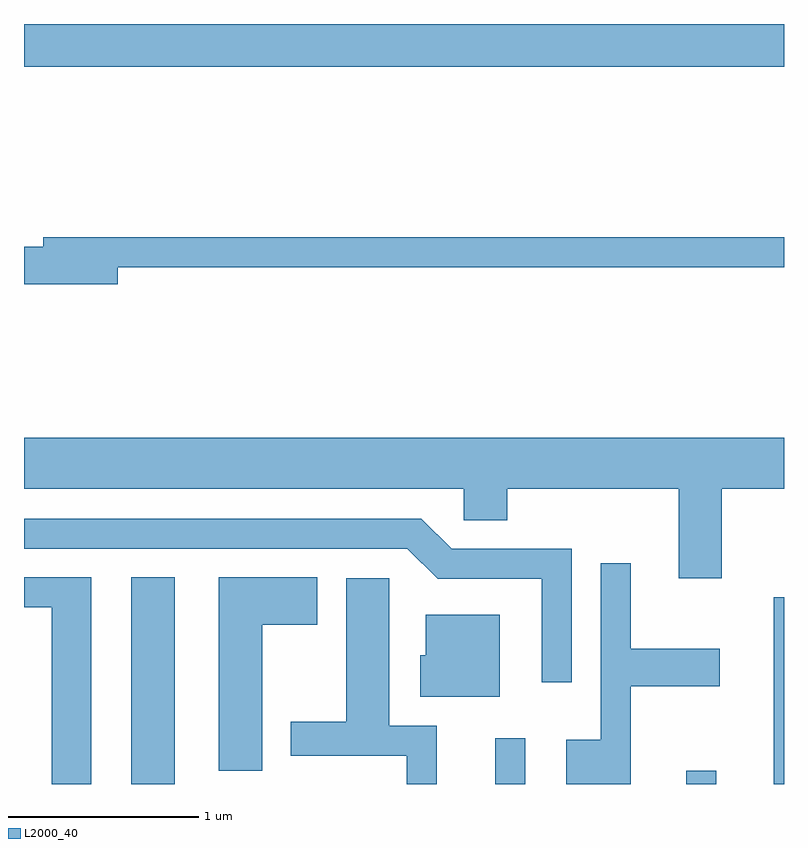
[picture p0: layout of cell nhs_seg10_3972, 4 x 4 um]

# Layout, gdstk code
import gdstk
lib = gdstk.Library(unit=1e-6, precision=1e-09)
def R(c, l, rs):  # rectangles x0, y0, x1, y1
    for r in rs: c.add(gdstk.rectangle(r[:2], r[2:], *l))
def P(c, l, *ps):  # polygons
    for p in ps: c.add(gdstk.Polygon(p, *l))
L2000_40 = (2000, 40)

nhs_seg10_3972 = lib.new_cell('nhs_seg10_3972')
R(nhs_seg10_3972, L2000_40, [(302.176,2174.522,302.404,2175.609), (304.091,2174.522,304.249,2174.763), (305.096,2174.522,305.254,2174.593), (305.556,2174.522,305.611,2175.504), (301.611,2178.296,305.611,2178.522)])
P(nhs_seg10_3972, L2000_40, [(302.104,2177.241),(305.611,2177.241),(305.611,2177.399),(301.711,2177.399),(301.711,2177.349),(301.611,2177.349),(301.611,2177.151),(302.104,2177.151)],
  [(305.284,2176.076),(305.611,2176.076),(305.611,2176.344),(301.611,2176.344),(301.611,2176.076),(303.926,2176.076),(303.926,2175.911),(304.154,2175.911),(304.154,2176.076),(305.056,2176.076),(305.056,2175.606),(305.284,2175.606)],
  [(304.494,2175.759),(303.862,2175.759),(303.702,2175.919),(301.611,2175.919),(301.611,2175.761),(303.629,2175.761),(303.789,2175.601),(304.336,2175.601),(304.336,2175.058),(304.494,2175.058)],
  [(304.804,2175.036),(305.274,2175.036),(305.274,2175.234),(304.804,2175.234),(304.804,2175.683),(304.646,2175.683),(304.646,2174.754),(304.466,2174.754),(304.466,2174.522),(304.804,2174.522)],
  [(301.964,2175.609),(301.611,2175.609),(301.611,2175.451),(301.756,2175.451),(301.756,2174.522),(301.964,2174.522)],
  [(302.864,2175.361),(303.154,2175.361),(303.154,2175.609),(302.636,2175.609),(302.636,2174.591),(302.864,2174.591)],
  [(303.784,2174.829),(303.534,2174.829),(303.534,2175.604),(303.306,2175.604),(303.306,2174.849),(303.016,2174.849),(303.016,2174.671),(303.626,2174.671),(303.626,2174.522),(303.784,2174.522)],
  [(304.114,2175.414),(303.726,2175.414),(303.726,2175.199),(303.696,2175.199),(303.696,2174.981),(304.114,2174.981)])

lib.write_gds('nhs_seg10_3972.gds')
